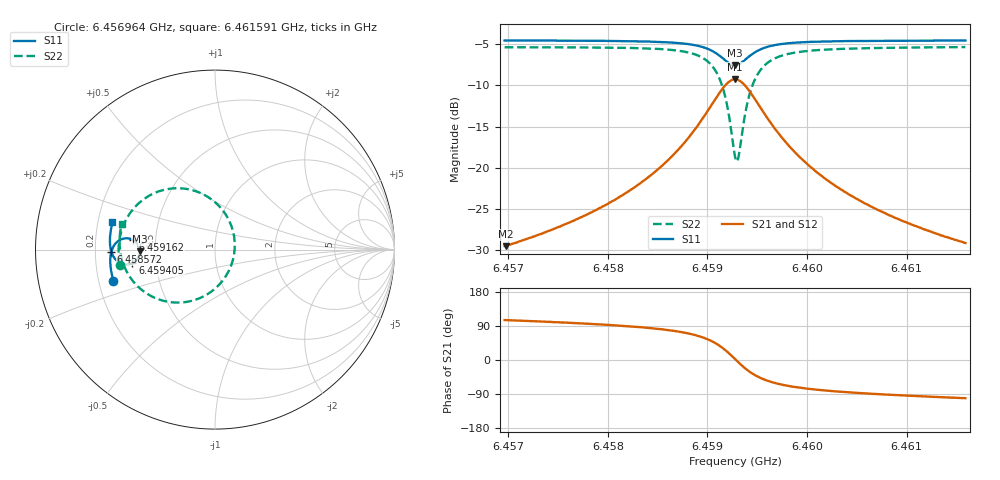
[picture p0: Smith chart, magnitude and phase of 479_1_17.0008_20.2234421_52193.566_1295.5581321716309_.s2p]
#  HZ  S  RI  R  50.00
! Rohde & Schwarz Vector Network Analyzer
! Rohde-Schwarz,ZNB20-2Port,1311601062101988,3.16
! Created: UTC 3/20/2024, 11:13:35 PM
! freq[Hz]  re:S11  im:S11  re:S21  im:S21  re:S12  im:S12  re:S22  im:S22
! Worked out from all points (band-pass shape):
!   401 points, 6.456964 GHz to 6.461591 GHz, reference 50 ohm
!   highest |S21| = -9.27 dB at 6.459278 GHz (marker M1); lowest = -29.5 dB at 6.456976 GHz (marker M2)
!   |S21| within 3 dB of the highest: 6.459048 GHz to 6.45951 GHz (462.1 kHz wide, 0.00715 % of centre)
!   lowest |S11| = -7.6 dB at 6.459278 GHz (marker M3), VSWR 2.44, Z = 20.5 - j0.474 ohm
!   |S11| at or under -10 dB: nowhere
!   |S22| runs from -19.2 to -5.4 dB; largest |S21 - S12| = 0.013
!   S11 on the Smith chart (normalised r, x): 6.456964 GHz: 0.26, -0.14; 6.458572 GHz: 0.27, -0.01; 6.459162 GHz: 0.37, +0.05; 6.459405 GHz: 0.37, -0.07; 6.461591 GHz: 0.26, +0.12
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6.4569642e9  -0.5663 -0.1728  -0.00892 0.0323  -0.00718 0.0322  -0.5315 -0.0861
6.4569757e9  -0.5666 -0.1719  -0.00887 0.0323  -0.00719 0.0324  -0.5318 -0.0848
6.4577392e9  -0.5806 -0.1054  -0.00563 0.0499  -0.00312 0.0495  -0.5372 0.00414
6.4581672e9  -0.5836 -0.0625  0.000278 0.0694  0.00346 0.068  -0.5293 0.0716
6.4585143e9  -0.5798 -0.0214  0.0139 0.0981  0.0178 0.0954  -0.5041 0.1492
6.4585721e9  -0.5781 -0.0134  0.0183 0.105  0.0222 0.1019  -0.4963 0.1657
6.4587803e9  -0.5652 0.0186  0.0455 0.1371  0.0497 0.1322  -0.4451 0.2383
6.4589307e9  -0.5428 0.045  0.0903 0.1675  0.0934 0.1609  -0.3626 0.3027
6.4590695e9  -0.4994 0.0627  0.1766 0.1843  0.1777 0.177  -0.2047 0.3419
6.4591621e9  -0.4551 0.0529  0.2661 0.1538  0.2661 0.148  -0.039 0.2932
6.4592083e9  -0.4339 0.0342  0.3098 0.1116  0.3109 0.1064  0.0439 0.218
6.4592777e9  -0.419 -0.00955  0.3435 0.0153  0.3471 0.00861  0.1099 0.0393
6.4593125e9  -0.4226 -0.033  0.3382 -0.037  0.342 -0.0458  0.0994 -0.0597
6.4593587e9  -0.438 -0.0591  0.3101 -0.0968  0.3122 -0.1086  0.0426 -0.1731
6.459405e9  -0.4601 -0.0755  0.2681 -0.1382  0.2674 -0.1512  -0.0419 -0.2483
6.4594975e9  -0.5032 -0.0824  0.1837 -0.1696  0.1776 -0.181  -0.2103 -0.295
6.4596479e9  -0.547 -0.0619  0.096 -0.1559  0.0875 -0.162  -0.3778 -0.2463
6.4598099e9  -0.5684 -0.0344  0.0512 -0.128  0.0436 -0.1308  -0.4582 -0.1743
6.4600528e9  -0.581 0.00143  0.0222 -0.0966  0.0163 -0.0973  -0.506 -0.092
6.4603767e9  -0.5855 0.0399  0.00687 -0.0713  0.00278 -0.0709  -0.5267 -0.0175
6.4608279e9  -0.5834 0.0854  -0.00135 -0.0513  -0.00428 -0.0508  -0.5315 0.055
6.4615913e9  -0.5711 0.1529  -0.00648 -0.0343  -0.00823 -0.0334  -0.5201 0.1449
